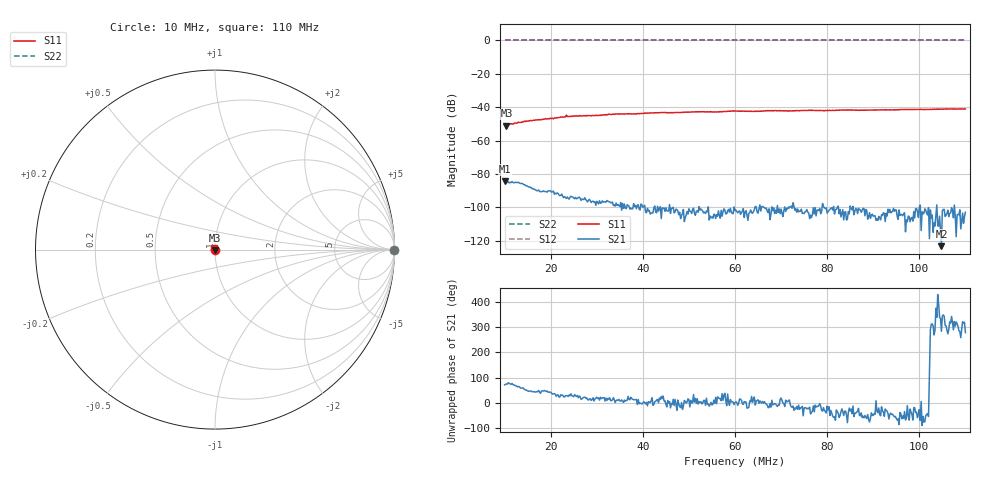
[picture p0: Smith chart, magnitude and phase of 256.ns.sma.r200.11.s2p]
! Anritsu VNA Master:  Model: MS2036C/10/77
! SN:  1601066
! /card0/usr/256.ns.sma.r200.11.s2p
! Existing Calibration Information:
! TYPE:  Current Settings,  Active Cal Settings
! TIME:  12/19/2017 03:40:02 PM,  12/19/2017 03:30:41 PM
! INTERNAL TEMP:  47.8 C,  48.0 C
! # POINTS:  501,  501
! START FREQ:  10.000 MHz,  10.000 MHz
! STOP FREQ:  110.000 MHz,  110.000 MHz
! SOURCE POWER:  High,  High
! IFBW:  100 Hz,  100 Hz
! AVG FACTOR:  1 ,  1
! REF PLANE 1:  0 mm,  0 mm
! REF PLANE 2:  0 mm,  0 mm
! CAL TYPE:  Full S11,  Full S11
! CAL METHOD:  SOLT,  SOLT
! CAL LINE TYPE:  Coax,  Coax
! DUT PORT 1:  N-Conn(F),  N-Conn(F)
! DUT PORT 2:  K-Conn(F),  K-Conn(F)
! CAL STATUS:  OK: Accuracy High,  --
# GHZ S DB R 50.0
! FREQ.GHZ  S11DB  S11A  S21DB  S21A  S12DB  S12A  S22DB  S22A
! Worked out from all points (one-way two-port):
!   501 points, 10 MHz to 110 MHz, reference 50 ohm
!   highest |S21| = -84.45 dB at 10 MHz (marker M1); lowest = -123.2 dB at 104.8 MHz (marker M2)
!   lowest |S11| = -51.1 dB at 10.4 MHz (marker M3), VSWR 1.01, Z = 49.9 - j0.27 ohm
!   |S11| at or under -10 dB: start of sweep to end of sweep
!   |S22| runs from 0.0 to 0.0 dB; largest |S21 - S12| = 1
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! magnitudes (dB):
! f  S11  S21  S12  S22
! 10 MHz  -50.7  -84.5  0.0  0.0
! 10.4 MHz  -51.1  -84.7  0.0  0.0
! 14.6 MHz  -48.6  -87.0  0.0  0.0
! 17.2 MHz  -47.5  -90.0  0.0  0.0
! 20.6 MHz  -46.9  -90.3  0.0  0.0
! 23.6 MHz  -45.6  -93.7  0.0  0.0
! 26.8 MHz  -45.2  -95.0  0.0  0.0
! 30.6 MHz  -44.8  -96.0  0.0  0.0
! 34.6 MHz  -44.1  -98.3  0.0  0.0
! 38 MHz  -43.9  -97.8  0.0  0.0
! 43.4 MHz  -43.3  -102.2  0.0  0.0
! 46.4 MHz  -43.3  -100.6  0.0  0.0
! 51.8 MHz  -42.8  -102.0  0.0  0.0
! 56 MHz  -42.8  -104.3  0.0  0.0
! 60 MHz  -42.2  -102.0  0.0  0.0
! 64 MHz  -42.5  -102.6  0.0  0.0
! 67.4 MHz  -42.2  -100.9  0.0  0.0
! 71.8 MHz  -42.1  -100.3  0.0  0.0
! 76.8 MHz  -41.9  -104.3  0.0  0.0
! 93.4 MHz  -41.6  -103.1  0.0  0.0
! 104.8 MHz  -41.1  -123.2  0.0  0.0
! 110 MHz  -41.0  -102.9  0.0  0.0
